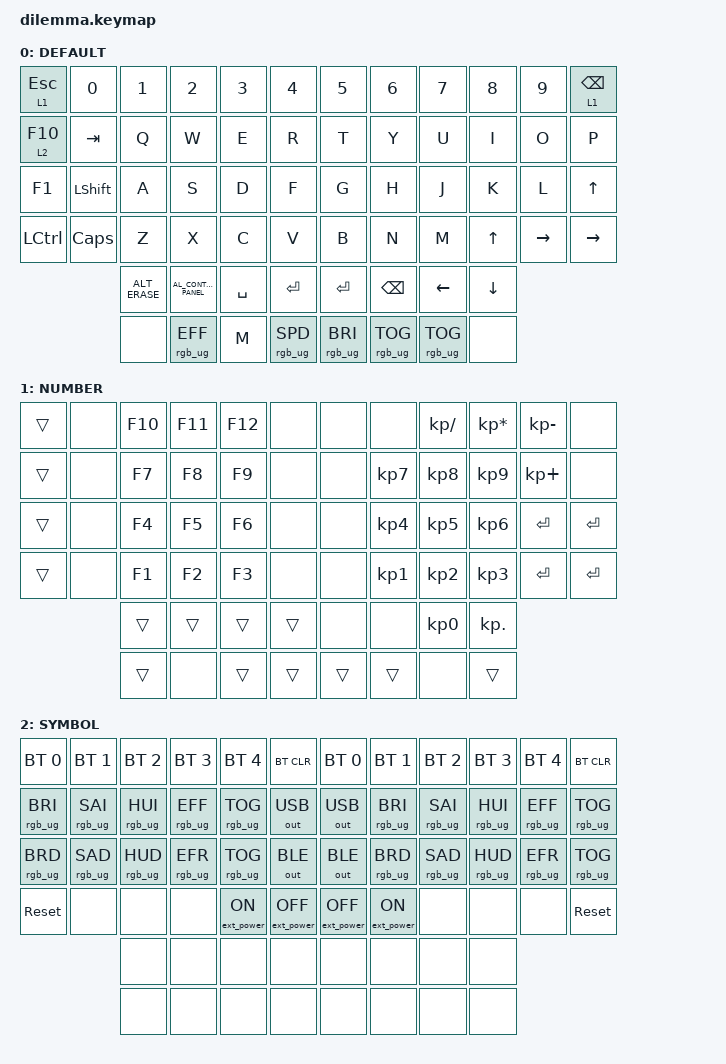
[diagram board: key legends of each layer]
#include <behaviors.dtsi>
#include <dt-bindings/zmk/bt.h>
#include <dt-bindings/zmk/ext_power.h>
#include <dt-bindings/zmk/keys.h>
#include <dt-bindings/zmk/outputs.h>
#include <dt-bindings/zmk/rgb.h>

#define DEFAULT 0
#define NUMBER  1
#define SYMBOL  2
#define HOTKEY  3

#define AS(keycode) &as LS(keycode) keycode

/ {
    behaviors {
        td0: tap_dance_0 {
            compatible = "zmk,behavior-tap-dance";
            label = "TAP_DANCE_0";
            #binding-cells = <0>;
            tapping-term-ms = <200>;
            bindings =
                <&kp ESC>,
                <&kp TAB>;
        };
    };

    behaviors {
        as: auto_shift {
            compatible = "zmk,behavior-hold-tap";
            label = "AUTO_SHIFT";
            #binding-cells = <2>;
            tapping-term-ms = <200>;
            quick-tap-ms = <0>;
            flavor = "tap-preferred";
            bindings =
                <&kp>,
                <&kp>;
        };
        modcp: mod_copy {
            compatible = "zmk,behavior-mod-morph";
            label = "MOD_COPY";
            #binding-cells = <0>;
            bindings =
                <&as LS(C) C>,
                <&kp C>;

            mods = <(LGUI | RGUI)>;
        };
    };

    macros {
        macro_phone: macro_phone {
            // 1351

            label = "MACRO_PHONE";
            compatible = "zmk,behavior-macro";
            #binding-cells = <0>;
            bindings = <&kp N1 &kp N3 &kp N5 &kp N1>;
        };
        macro_email_q: macro_email_q {
            // 2894512440@qq.com

            label = "MACRO_EMAIL_QQ";
            compatible = "zmk,behavior-macro";
            #binding-cells = <0>;
            bindings = <&kp N2 &kp N8 &kp N9 &kp N4 &kp N5 &kp N1 &kp N2 &kp N4 &kp N4 &kp N0 &kp AT &kp Q &kp Q &kp DOT &kp C &kp O &kp M>;
        };
        macro_email_g: macro_email_g {
            // 135115

            compatible = "zmk,behavior-macro";
            label = "MACRO_EMAIL_GMAIL";
            #binding-cells = <0>;
            bindings = <&kp N1 &kp N3 &kp N5 &kp N1 &kp N1 &kp N5>;
        };
    };

    keymap {
        compatible = "zmk,keymap";

        default_layer {
            label = "DEFAULT";
            bindings = <
&lt 1 ESC  &kp N0          &kp N1         &kp N2                  &kp N3     &kp N4           &kp N5           &kp N6           &kp N7           &kp N8    &kp N9     &lt 1 BACKSPACE
&lt 2 F10  &kp TAB         &kp Q          &kp W                   &kp E      &kp R            &kp T            &kp Y            &kp U            &kp I     &kp O      &kp P
&kp F1     &kp LEFT_SHIFT  &kp A          &kp S                   &kp D      &kp F            &kp G            &kp H            &kp J            &kp K     &kp L      &kp UP
&kp LCTRL  &kp CAPS        &kp Z          &kp X                   &kp C      &kp V            &kp B            &kp N            &kp M            &kp UP    &kp RIGHT  &kp RIGHT
                           &kp ALT_ERASE  &kp C_AL_CONTROL_PANEL  &kp SPACE  &kp ENTER        &kp ENTER        &kp BSPC         &kp LEFT         &kp DOWN
                           &none          &rgb_ug RGB_EFF         &kp M      &rgb_ug RGB_SPD  &rgb_ug RGB_BRI  &rgb_ug RGB_TOG  &rgb_ug RGB_TOG  &none
            >;
        };

        number_layer {
            label = "NUMBER";
            bindings = <
&trans  &none  &kp F10  &kp F11  &kp F12  &none   &none   &none      &kp KP_SLASH  &kp KP_MULTIPLY  &kp KP_MINUS  &none
&trans  &none  &kp F7   &kp F8   &kp F9   &none   &none   &kp KP_N7  &kp KP_N8     &kp KP_N9        &kp KP_PLUS   &none
&trans  &none  &kp F4   &kp F5   &kp F6   &none   &none   &kp KP_N4  &kp KP_N5     &kp KP_N6        &kp ENTER     &kp ENTER
&trans  &none  &kp F1   &kp F2   &kp F3   &none   &none   &kp KP_N1  &kp KP_N2     &kp KP_N3        &kp ENTER     &kp ENTER
               &trans   &trans   &trans   &trans  &none   &none      &kp KP_N0     &kp KP_DOT
               &trans   &none    &trans   &trans  &trans  &trans     &none         &trans
            >;
        };

        symbol_layer {
            label = "SYMBOL";
            bindings = <
&bt BT_SEL 0     &bt BT_SEL 1     &bt BT_SEL 2     &bt BT_SEL 3     &bt BT_SEL 4      &bt BT_CLR         &bt BT_SEL 0       &bt BT_SEL 1      &bt BT_SEL 2     &bt BT_SEL 3     &bt BT_SEL 4     &bt BT_CLR
&rgb_ug RGB_BRI  &rgb_ug RGB_SAI  &rgb_ug RGB_HUI  &rgb_ug RGB_EFF  &rgb_ug RGB_TOG   &out OUT_USB       &out OUT_USB       &rgb_ug RGB_BRI   &rgb_ug RGB_SAI  &rgb_ug RGB_HUI  &rgb_ug RGB_EFF  &rgb_ug RGB_TOG
&rgb_ug RGB_BRD  &rgb_ug RGB_SAD  &rgb_ug RGB_HUD  &rgb_ug RGB_EFR  &rgb_ug RGB_TOG   &out OUT_BLE       &out OUT_BLE       &rgb_ug RGB_BRD   &rgb_ug RGB_SAD  &rgb_ug RGB_HUD  &rgb_ug RGB_EFR  &rgb_ug RGB_TOG
&sys_reset       &none            &none            &none            &ext_power EP_ON  &ext_power EP_OFF  &ext_power EP_OFF  &ext_power EP_ON  &none            &none            &none            &sys_reset
                                  &none            &none            &none             &none              &none              &none             &none            &none
                                  &none            &none            &none             &none              &none              &none             &none            &none
            >;
        };
    };
};
